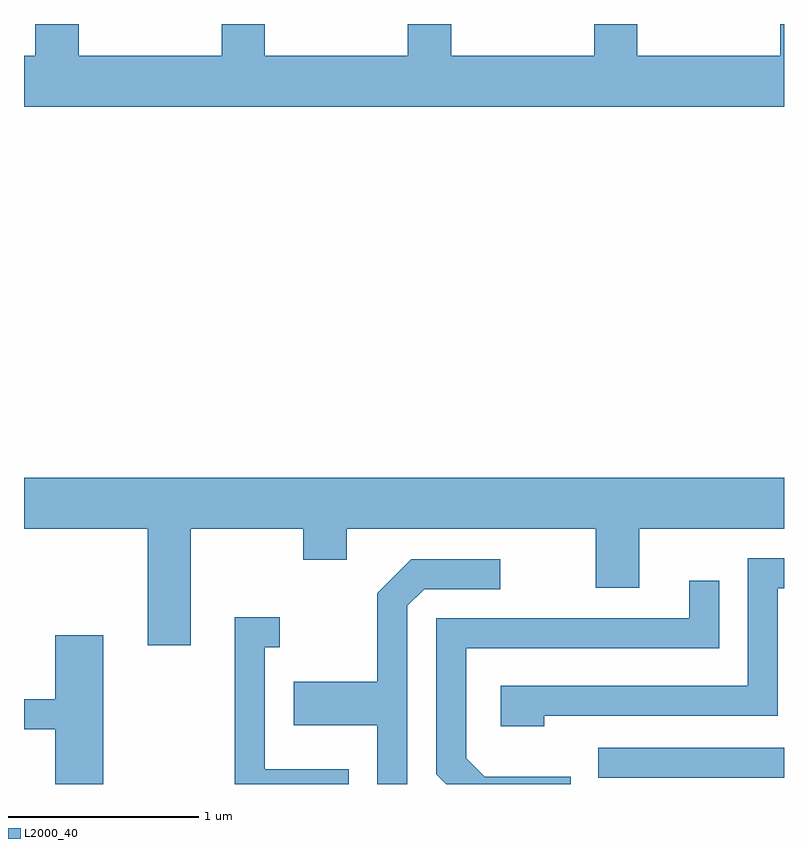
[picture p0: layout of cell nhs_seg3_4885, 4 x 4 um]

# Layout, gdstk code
import gdstk
lib = gdstk.Library(unit=1e-6, precision=1e-09)
def R(c, l, rs):  # rectangles x0, y0, x1, y1
    for r in rs: c.add(gdstk.rectangle(r[:2], r[2:], *l))
def P(c, l, *ps):  # polygons
    for p in ps: c.add(gdstk.Polygon(p, *l))
L2000_40 = (2000, 40)

nhs_seg3_4885 = lib.new_cell('nhs_seg3_4885')
R(nhs_seg3_4885, L2000_40, [(330.633,1237.926,331.611,1238.084)])
P(nhs_seg3_4885, L2000_40, [(331.611,1241.892),(331.591,1241.892),(331.591,1241.724),(330.839,1241.724),(330.839,1241.892),(330.611,1241.892),(330.611,1241.724),(329.859,1241.724),(329.859,1241.892),(329.631,1241.892),(329.631,1241.724),(328.879,1241.724),(328.879,1241.892),(328.651,1241.892),(328.651,1241.724),(327.899,1241.724),(327.899,1241.892),(327.671,1241.892),(327.671,1241.724),(327.611,1241.724),(327.611,1241.456),(331.611,1241.456)],
  [(328.489,1239.236),(329.081,1239.236),(329.081,1239.071),(329.309,1239.071),(329.309,1239.236),(330.621,1239.236),(330.621,1238.926),(330.849,1238.926),(330.849,1239.236),(331.611,1239.236),(331.611,1239.504),(327.611,1239.504),(327.611,1239.236),(328.261,1239.236),(328.261,1238.621),(328.489,1238.621)],
  [(330.349,1238.251),(331.579,1238.251),(331.579,1238.921),(331.611,1238.921),(331.611,1239.079),(331.421,1239.079),(331.421,1238.409),(330.121,1238.409),(330.121,1238.196),(330.349,1238.196)],
  [(329.629,1238.829),(329.717,1238.916),(330.118,1238.916),(330.118,1239.074),(329.649,1239.074),(329.471,1238.897),(329.471,1238.429),(329.031,1238.429),(329.031,1238.201),(329.471,1238.201),(329.471,1237.892),(329.629,1237.892)],
  [(330.489,1237.929),(330.037,1237.929),(329.939,1238.027),(329.939,1238.606),(331.269,1238.606),(331.269,1238.963),(331.111,1238.963),(331.111,1238.764),(329.781,1238.764),(329.781,1237.944),(329.833,1237.892),(330.489,1237.892)],
  [(329.319,1237.969),(328.879,1237.969),(328.879,1238.611),(328.958,1238.611),(328.958,1238.769),(328.721,1238.769),(328.721,1237.892),(329.319,1237.892)],
  [(328.029,1238.674),(327.776,1238.674),(327.776,1238.339),(327.611,1238.339),(327.611,1238.181),(327.776,1238.181),(327.776,1237.892),(328.029,1237.892)])

lib.write_gds('nhs_seg3_4885.gds')
